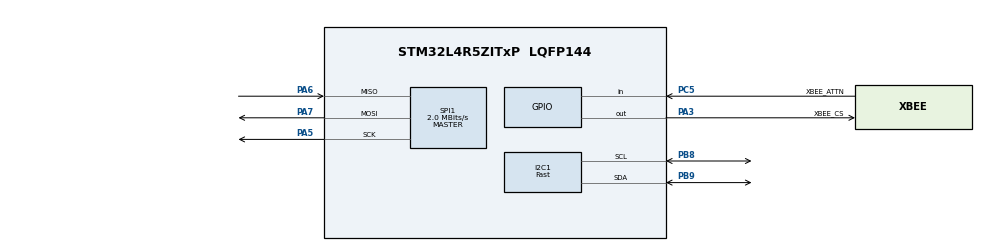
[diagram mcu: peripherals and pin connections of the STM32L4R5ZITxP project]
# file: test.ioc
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I2C1.Analog_Filter=I2C_ANALOGFILTER_ENABLE
I2C1.CustomTiming=Enabled
I2C1.I2C_Speed_Mode=I2C_Fast
I2C1.NoStretchMode=I2C_NOSTRETCH_DISABLE
I2C1.OwnAddress=0x78
I2C1.Timing=0x00000004
Mcu.Family=STM32L4
Mcu.Name=STM32L4R5ZITxP
Mcu.Package=LQFP144
NVIC.PriorityGroup=NVIC_PRIORITYGROUP_4
PA0.Signal=S_TIM2_CH1
PA1.Signal=ADCx_IN6
PA10.Signal=USB_OTG_FS_ID
PA13\ (JTMS/SWDIO).Signal=SYS_JTMS-SWDIO
PA14\ (JTCK/SWCLK).Signal=SYS_JTCK-SWCLK
PA3.GPIO_Label=XBEE_CS
PA3.GPIO_PuPd=GPIO_PULLUP
PA3.PinState=GPIO_PIN_SET
PA3.Signal=GPIO_Output
PA4.Signal=SPI1_NSS
PA5.GPIO_PuPd=GPIO_PULLDOWN
PA5.Mode=Full_Duplex_Master
PA5.Signal=SPI1_SCK
PA6.GPIO_PuPd=GPIO_NOPULL
PA6.Mode=Full_Duplex_Master
PA6.Signal=SPI1_MISO
PA7.GPIO_PuPd=GPIO_NOPULL
PA7.Mode=Full_Duplex_Master
PA7.Signal=SPI1_MOSI
PA8.Signal=USB_OTG_FS_SOF
PA9.Signal=USB_OTG_FS_VBUS
PB0.Signal=S_TIM3_CH3
PB1.Signal=ADCx_IN16
PB10.Signal=S_TIM2_CH3
PB12.Signal=SAI2_FS_A
PB13.Signal=SAI2_SCK_A
PB14.Signal=S_TIM15_CH1
PB15.Signal=SAI2_SD_A
PB2.Signal=COMP1_INP
PB3\ (JTDO/TRACESWO).Signal=SPI3_SCK
PB4\ (NJTRST).Signal=SPI3_MISO
PB5.Signal=SPI3_MOSI
PB6.Signal=COMP2_INP
PB8.GPIO_FM8=I2C_FASTMODEPLUS_PB8
PB8.GPIO_Mode=GPIO_MODE_AF_OD
PB8.GPIO_Pu=GPIO_PULLUP
PB8.GPIO_Speed=GPIO_SPEED_FREQ_VERY_HIGH
PB8.Mode=I2C
PB8.Signal=I2C1_SCL
PB9.GPIO_FM9=I2C_FASTMODEPLUS_PB9
PB9.GPIO_Mode=GPIO_MODE_AF_OD
PB9.GPIO_Pu=GPIO_PULLUP
PB9.GPIO_Speed=GPIO_SPEED_FREQ_VERY_HIGH
PB9.Mode=I2C
PB9.Signal=I2C1_SDA
PC0.Signal=ADCx_IN1
PC1.Signal=ADCx_IN2
PC10.Signal=SDMMC1_D2
PC11.Signal=SDMMC1_D3
PC12.Signal=SDMMC1_CK
PC13.Signal=SYS_WKUP2
PC14-OSC32_IN\ (PC14).Signal=RCC_OSC32_IN
PC15-OSC32_OUT\ (PC15).Signal=RCC_OSC32_OUT
PC2.Signal=ADCx_IN3
PC3.Signal=ADCx_IN4
PC4.Signal=ADCx_IN13
PC5.GPIO_Label=XBEE_ATTN
PC5.Signal=GPIO_Input
PC6.Signal=SAI2_MCLK_A
PC7.Signal=S_TIM3_CH2
PC8.Signal=SDMMC1_D0
PC9.Signal=SDMMC1_D1
PD0.Signal=CAN1_RX
PD14.Signal=S_TIM4_CH3
PD15.Signal=S_TIM4_CH4
PD2.Signal=SDMMC1_CMD
PD3.Signal=USART2_CTS
PD4.Signal=USART2_RTS
PD5.Signal=USART2_TX
PD6.Signal=USART2_RX
PD8.Signal=USART3_TX
PD9.Signal=USART3_RX
PE0.Signal=S_TIM4_ETR
PE10.Signal=TIM1_CH2N
PE11.Signal=S_TIM1_CH2
PE12.Signal=TIM1_CH3N
PE13.Signal=S_TIM1_CH3
PE14.Signal=TIM1_BKIN2
PE15.Signal=TIM1_BKIN
PE2.Signal=SAI1_MCLK_A
PE3.Signal=SAI1_SD_B
PE7.Signal=S_TIM1_ETR
PE8.Signal=TIM1_CH1N
PE9.Signal=S_TIM1_CH1
PF0.Signal=I2C2_SDA
PF1.Signal=I2C2_SCL
PF2.Signal=I2C2_SMBA
PF7.Signal=SAI1_MCLK_B
PG7.Signal=LPUART1_TX
PG8.Signal=LPUART1_RX
PH0-OSC_IN\ (PH0).Signal=RCC_OSC_IN
PH1-OSC_OUT\ (PH1).Signal=RCC_OSC_OUT
ProjectManager.HeapSize=0x200
ProjectManager.StackSize=0x400
ProjectManager.TargetToolchain=STM32CubeIDE
RCC.HSE_VALUE=8000000
RCC.HSI48_VALUE=48000000
RCC.HSI_VALUE=16000000
RCC.LSE_VALUE=32768
RCC.MSI_VALUE=4000000
RCC.VCOOutputFreq_Value=32000000
SH.ADCx_IN1.0=ADC1_IN1
SH.ADCx_IN13.0=ADC1_IN13
SH.ADCx_IN16.0=ADC1_IN16
SH.ADCx_IN2.0=ADC1_IN2
SH.ADCx_IN3.0=ADC1_IN3
SH.ADCx_IN4.0=ADC1_IN4
SH.ADCx_IN6.0=ADC1_IN6
SH.S_TIM15_CH1.0=TIM15_CH1
SH.S_TIM1_CH1.0=TIM1_CH1
SH.S_TIM1_CH2.0=TIM1_CH2
SH.S_TIM1_CH3.0=TIM1_CH3
SH.S_TIM1_ETR.0=TIM1_ETR
SH.S_TIM2_CH1.0=TIM2_CH1
SH.S_TIM2_CH3.0=TIM2_CH3
SH.S_TIM3_CH2.0=TIM3_CH2
SH.S_TIM3_CH3.0=TIM3_CH3
SH.S_TIM4_CH3.0=TIM4_CH3
SH.S_TIM4_CH4.0=TIM4_CH4
SH.S_TIM4_ETR.0=TIM4_ETR
SPI1.CLKPhase=SPI_PHASE_1EDGE
SPI1.CLKPolarity=SPI_POLARITY_LOW
SPI1.CalculateBaudRate=2.0 MBits/s
SPI1.DataSize=SPI_DATASIZE_8BIT
SPI1.Direction=SPI_DIRECTION_2LINES
SPI1.Mode=SPI_MODE_MASTER
SPI1.VirtualType=VM_MASTER
VP_FATFS_VS_Generic.Mode=User_defined
board=NUCLEO-L4R5ZI-P

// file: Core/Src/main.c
/* USER CODE BEGIN Header */
/**
  ******************************************************************************
  * @file           : main.c
  * @brief          : Main program body
  ******************************************************************************
  * @attention
  *
  * Copyright (c) 2023 STMicroelectronics.
  * All rights reserved.
  *
  * This software is licensed under terms that can be found in the LICENSE file
  * in the root directory of this software component.
  * If no LICENSE file comes with this software, it is provided AS-IS.
  *
  ******************************************************************************
  */
/* USER CODE END Header */
#include "main.h"
#include "fatfs.h"

/* USER CODE BEGIN Includes */
#include "ssd1306.h"
#include "fonts.h"

/* USER CODE END Includes */

/* USER CODE BEGIN PD */
#define GLASSBEE_ADDR 0x0013A2004176EAC6
#define FOOTBEE_ADDR 0x0013A2004108245C
#define XBEE_SRC_ADDR GLASSBEE_ADDR
#define XBEE_DEST_ADDR FOOTBEE_ADDR
#define XBEE_START 0x7E
#define XBEE_TRANSMIT_FRAME 0x10
#define XBEE_RECEIVE_FRAME 0x90

/* USER CODE END PD */

I2C_HandleTypeDef hi2c1;

SPI_HandleTypeDef hspi1;

void SystemClock_Config(void);
static void MX_GPIO_Init(void);
static void MX_I2C1_Init(void);
static void MX_SPI1_Init(void);

/* USER CODE BEGIN 0 */

// returns frame size
// modifies frame[]. pass payload to be sent in data[].
uint8_t XBeeChecksum(uint8_t frame[], uint8_t frame_size)
{
	uint8_t checksum = 0;
	uint8_t ret = 0;
	for (int i = 0; i < frame_size; i++) // skip bytes 0-2, and last
	{
		uint8_t temp = frame[i+3];
		checksum += temp;
	}
	checksum = 0x00FF - checksum;
	ret = (uint8_t)(checksum & 0x00FF);
	return ret;
}

uint8_t makeXBeeFrame
(
		uint8_t frame_type,
		uint8_t frame_id,
		uint8_t data_size, // in bytes
		uint8_t data[],
		uint8_t frame[]
)
{
	// only do 14 bytes of data to avoid exceeding 32-byte frame size
	if (data_size > 14) { data_size = 14; }

	uint16_t frame_size = 0x0E + data_size;
	uint32_t checksum = 0;

	frame[0] = XBEE_START;
	frame[1] = ((frame_size) >> 8) & 0x00FF; // length upper byte
	frame[2] = ((frame_size) >> 0) & 0x00FF; // length lower byte
	frame[3] = frame_type;
	frame[4] = frame_id;
	for (int i = 0; i < 8; i++) // write 64-bit dest
	{
		uint8_t temp = (XBEE_DEST_ADDR >> 8*(7-i));
		frame[i + 5] = temp;
	}
	frame[13] = 0xFF; // 16-bit addr upper
	frame[14] = 0xFE; // 16-bit addr lower
	frame[15] = 0x00; // broadcast_radius
	frame[16] = 0x00; // options
	for (int i = 0; i < data_size; i++) // add data payload to frame
	{
		uint8_t temp = data[i];
		frame[i + 17] = temp;
	}

	// update checksum
	checksum = XBeeChecksum(frame, frame_size);
	frame[data_size + 17] = checksum;
	return frame_size + 4;
}

void parseXBeeFrame (uint8_t* frame[])
{
}

/* USER CODE END 0 */

int main(void)
{

  /* MCU Configuration--------------------------------------------------------*/

  /* Reset of all peripherals, Initializes the Flash interface and the Systick. */
  HAL_Init();

  /* Configure the system clock */
  SystemClock_Config();

  /* Initialize all configured peripherals */
  MX_GPIO_Init();
  MX_I2C1_Init();
  MX_SPI1_Init();
  MX_FATFS_Init();
  /* USER CODE BEGIN 2 */

  uint8_t data_buf[14];
  uint8_t xbee_tx_buf[32];
  uint8_t xbee_rx_buf[32];

  data_buf[0] = 1;
  data_buf[1] = 3;
  data_buf[2] = 9;
  data_buf[3] = 12;
  uint8_t tx_size = makeXBeeFrame(XBEE_TRANSMIT_FRAME, 0x01, 4, data_buf, xbee_tx_buf);
  HAL_GPIO_TogglePin(GPIOA, GPIO_PIN_3);
  HAL_SPI_TransmitReceive(&hspi3, xbee_tx_buf, xbee_rx_buf, tx_size, 10);
  HAL_GPIO_TogglePin(GPIOA, GPIO_PIN_3);

  /* USER CODE END 2 */

  /* Infinite loop */
  while (1)
  {

    /* USER CODE BEGIN 3 */
	  SSD1306_Init();
	  SSD1306_GotoXY (0,21);
	  SSD1306_Puts ("HELLO WORLD :)", &Font_7x10, 1);
	  SSD1306_UpdateScreen(); //display

	  HAL_Delay (2000);
  }
  /* USER CODE END 3 */
}

void SystemClock_Config(void)
{
  RCC_OscInitTypeDef RCC_OscInitStruct = {0};
  RCC_ClkInitTypeDef RCC_ClkInitStruct = {0};

  /** Configure the main internal regulator output voltage
  */
  if (HAL_PWREx_ControlVoltageScaling(PWR_REGULATOR_VOLTAGE_SCALE1) != HAL_OK)
  {
    Error_Handler();
  }

  /** Initializes the RCC Oscillators according to the specified parameters
  * in the RCC_OscInitTypeDef structure.
  */
  RCC_OscInitStruct.OscillatorType = RCC_OSCILLATORTYPE_MSI;
  RCC_OscInitStruct.MSIState = RCC_MSI_ON;
  RCC_OscInitStruct.MSICalibrationValue = 0;
  RCC_OscInitStruct.MSIClockRange = RCC_MSIRANGE_6;
  RCC_OscInitStruct.PLL.PLLState = RCC_PLL_NONE;
  if (HAL_RCC_OscConfig(&RCC_OscInitStruct) != HAL_OK)
  {
    Error_Handler();
  }

  /** Initializes the CPU, AHB and APB buses clocks
  */
  RCC_ClkInitStruct.ClockType = RCC_CLOCKTYPE_HCLK|RCC_CLOCKTYPE_SYSCLK
                              |RCC_CLOCKTYPE_PCLK1|RCC_CLOCKTYPE_PCLK2;
  RCC_ClkInitStruct.SYSCLKSource = RCC_SYSCLKSOURCE_MSI;
  RCC_ClkInitStruct.AHBCLKDivider = RCC_SYSCLK_DIV1;
  RCC_ClkInitStruct.APB1CLKDivider = RCC_HCLK_DIV1;
  RCC_ClkInitStruct.APB2CLKDivider = RCC_HCLK_DIV1;

  if (HAL_RCC_ClockConfig(&RCC_ClkInitStruct, FLASH_LATENCY_0) != HAL_OK)
  {
    Error_Handler();
  }
}

static void MX_I2C1_Init(void)
{

  hi2c1.Instance = I2C1;
  hi2c1.Init.Timing = 0x00000004;
  hi2c1.Init.OwnAddress1 = 240;
  hi2c1.Init.AddressingMode = I2C_ADDRESSINGMODE_7BIT;
  hi2c1.Init.DualAddressMode = I2C_DUALADDRESS_DISABLE;
  hi2c1.Init.OwnAddress2 = 0;
  hi2c1.Init.OwnAddress2Masks = I2C_OA2_NOMASK;
  hi2c1.Init.GeneralCallMode = I2C_GENERALCALL_DISABLE;
  hi2c1.Init.NoStretchMode = I2C_NOSTRETCH_DISABLE;
  if (HAL_I2C_Init(&hi2c1) != HAL_OK)
  {
    Error_Handler();
  }

  /** Configure Analogue filter
  */
  if (HAL_I2CEx_ConfigAnalogFilter(&hi2c1, I2C_ANALOGFILTER_ENABLE) != HAL_OK)
  {
    Error_Handler();
  }

  /** Configure Digital filter
  */
  if (HAL_I2CEx_ConfigDigitalFilter(&hi2c1, 0) != HAL_OK)
  {
    Error_Handler();
  }

}

static void MX_SPI1_Init(void)
{

  /* SPI1 parameter configuration*/
  hspi1.Instance = SPI1;
  hspi1.Init.Mode = SPI_MODE_MASTER;
  hspi1.Init.Direction = SPI_DIRECTION_2LINES;
  hspi1.Init.DataSize = SPI_DATASIZE_8BIT;
  hspi1.Init.CLKPolarity = SPI_POLARITY_LOW;
  hspi1.Init.CLKPhase = SPI_PHASE_1EDGE;
  hspi1.Init.NSS = SPI_NSS_SOFT;
  hspi1.Init.BaudRatePrescaler = SPI_BAUDRATEPRESCALER_2;
  hspi1.Init.FirstBit = SPI_FIRSTBIT_MSB;
  hspi1.Init.TIMode = SPI_TIMODE_DISABLE;
  hspi1.Init.CRCCalculation = SPI_CRCCALCULATION_DISABLE;
  hspi1.Init.CRCPolynomial = 7;
  hspi1.Init.CRCLength = SPI_CRC_LENGTH_DATASIZE;
  hspi1.Init.NSSPMode = SPI_NSS_PULSE_ENABLE;
  if (HAL_SPI_Init(&hspi1) != HAL_OK)
  {
    Error_Handler();
  }

}

static void MX_GPIO_Init(void)
{
  GPIO_InitTypeDef GPIO_InitStruct = {0};

  /* GPIO Ports Clock Enable */
  __HAL_RCC_GPIOE_CLK_ENABLE();
  __HAL_RCC_GPIOC_CLK_ENABLE();
  __HAL_RCC_GPIOF_CLK_ENABLE();
  __HAL_RCC_GPIOH_CLK_ENABLE();
  __HAL_RCC_GPIOA_CLK_ENABLE();
  __HAL_RCC_GPIOB_CLK_ENABLE();
  __HAL_RCC_GPIOD_CLK_ENABLE();
  __HAL_RCC_GPIOG_CLK_ENABLE();
  HAL_PWREx_EnableVddIO2();

  /*Configure GPIO pin Output Level */
  HAL_GPIO_WritePin(XBEE_CS_GPIO_Port, XBEE_CS_Pin, GPIO_PIN_SET);

  /*Configure GPIO pins : PE2 PE3 */
  GPIO_InitStruct.Pin = GPIO_PIN_2|GPIO_PIN_3;
  GPIO_InitStruct.Mode = GPIO_MODE_AF_PP;
  GPIO_InitStruct.Pull = GPIO_NOPULL;
  GPIO_InitStruct.Speed = GPIO_SPEED_FREQ_LOW;
  GPIO_InitStruct.Alternate = GPIO_AF13_SAI1;
  HAL_GPIO_Init(GPIOE, &GPIO_InitStruct);

  /*Configure GPIO pins : PF0 PF1 PF2 */
  GPIO_InitStruct.Pin = GPIO_PIN_0|GPIO_PIN_1|GPIO_PIN_2;
  GPIO_InitStruct.Mode = GPIO_MODE_AF_OD;
  GPIO_InitStruct.Pull = GPIO_NOPULL;
  GPIO_InitStruct.Speed = GPIO_SPEED_FREQ_VERY_HIGH;
  GPIO_InitStruct.Alternate = GPIO_AF4_I2C2;
  HAL_GPIO_Init(GPIOF, &GPIO_InitStruct);

  /*Configure GPIO pin : PF7 */
  GPIO_InitStruct.Pin = GPIO_PIN_7;
  GPIO_InitStruct.Mode = GPIO_MODE_AF_PP;
  GPIO_InitStruct.Pull = GPIO_NOPULL;
  GPIO_InitStruct.Speed = GPIO_SPEED_FREQ_LOW;
  GPIO_InitStruct.Alternate = GPIO_AF13_SAI1;
  HAL_GPIO_Init(GPIOF, &GPIO_InitStruct);

  /*Configure GPIO pins : PC0 PC1 PC2 PC3
                           PC4 */
  GPIO_InitStruct.Pin = GPIO_PIN_0|GPIO_PIN_1|GPIO_PIN_2|GPIO_PIN_3
                          |GPIO_PIN_4;
  GPIO_InitStruct.Mode = GPIO_MODE_ANALOG_ADC_CONTROL;
  GPIO_InitStruct.Pull = GPIO_NOPULL;
  HAL_GPIO_Init(GPIOC, &GPIO_InitStruct);

  /*Configure GPIO pin : PA0 */
  GPIO_InitStruct.Pin = GPIO_PIN_0;
  GPIO_InitStruct.Mode = GPIO_MODE_AF_PP;
  GPIO_InitStruct.Pull = GPIO_NOPULL;
  GPIO_InitStruct.Speed = GPIO_SPEED_FREQ_LOW;
  GPIO_InitStruct.Alternate = GPIO_AF1_TIM2;
  HAL_GPIO_Init(GPIOA, &GPIO_InitStruct);

  /*Configure GPIO pin : PA1 */
  GPIO_InitStruct.Pin = GPIO_PIN_1;
  GPIO_InitStruct.Mode = GPIO_MODE_ANALOG_ADC_CONTROL;
  GPIO_InitStruct.Pull = GPIO_NOPULL;
  HAL_GPIO_Init(GPIOA, &GPIO_InitStruct);

  /*Configure GPIO pin : XBEE_CS_Pin */
  GPIO_InitStruct.Pin = XBEE_CS_Pin;
  GPIO_InitStruct.Mode = GPIO_MODE_OUTPUT_PP;
  GPIO_InitStruct.Pull = GPIO_PULLUP;
  GPIO_InitStruct.Speed = GPIO_SPEED_FREQ_LOW;
  HAL_GPIO_Init(XBEE_CS_GPIO_Port, &GPIO_InitStruct);

  /*Configure GPIO pin : XBEE_ATTN_Pin */
  GPIO_InitStruct.Pin = XBEE_ATTN_Pin;
  GPIO_InitStruct.Mode = GPIO_MODE_INPUT;
  GPIO_InitStruct.Pull = GPIO_NOPULL;
  HAL_GPIO_Init(XBEE_ATTN_GPIO_Port, &GPIO_InitStruct);

  /*Configure GPIO pin : PB0 */
  GPIO_InitStruct.Pin = GPIO_PIN_0;
  GPIO_InitStruct.Mode = GPIO_MODE_AF_PP;
  GPIO_InitStruct.Pull = GPIO_NOPULL;
  GPIO_InitStruct.Speed = GPIO_SPEED_FREQ_LOW;
  GPIO_InitStruct.Alternate = GPIO_AF2_TIM3;
  HAL_GPIO_Init(GPIOB, &GPIO_InitStruct);

  /*Configure GPIO pin : PB1 */
  GPIO_InitStruct.Pin = GPIO_PIN_1;
  GPIO_InitStruct.Mode = GPIO_MODE_ANALOG_ADC_CONTROL;
  GPIO_InitStruct.Pull = GPIO_NOPULL;
  HAL_GPIO_Init(GPIOB, &GPIO_InitStruct);

  /*Configure GPIO pins : PB2 PB6 */
  GPIO_InitStruct.Pin = GPIO_PIN_2|GPIO_PIN_6;
  GPIO_InitStruct.Mode = GPIO_MODE_ANALOG;
  GPIO_InitStruct.Pull = GPIO_NOPULL;
  HAL_GPIO_Init(GPIOB, &GPIO_InitStruct);

  /*Configure GPIO pins : PE7 PE8 PE9 PE10
                           PE11 PE12 PE13 */
  GPIO_InitStruct.Pin = GPIO_PIN_7|GPIO_PIN_8|GPIO_PIN_9|GPIO_PIN_10
                          |GPIO_PIN_11|GPIO_PIN_12|GPIO_PIN_13;
  GPIO_InitStruct.Mode = GPIO_MODE_AF_PP;
  GPIO_InitStruct.Pull = GPIO_NOPULL;
  GPIO_InitStruct.Speed = GPIO_SPEED_FREQ_LOW;
  GPIO_InitStruct.Alternate = GPIO_AF1_TIM1;
  HAL_GPIO_Init(GPIOE, &GPIO_InitStruct);

  /*Configure GPIO pins : PE14 PE15 */
  GPIO_InitStruct.Pin = GPIO_PIN_14|GPIO_PIN_15;
  GPIO_InitStruct.Mode = GPIO_MODE_AF_PP;
  GPIO_InitStruct.Pull = GPIO_NOPULL;
  GPIO_InitStruct.Speed = GPIO_SPEED_FREQ_LOW;
  GPIO_InitStruct.Alternate = GPIO_AF3_TIM1_COMP1;
  HAL_GPIO_Init(GPIOE, &GPIO_InitStruct);

  /*Configure GPIO pin : PB10 */
  GPIO_InitStruct.Pin = GPIO_PIN_10;
  GPIO_InitStruct.Mode = GPIO_MODE_AF_PP;
  GPIO_InitStruct.Pull = GPIO_NOPULL;
  GPIO_InitStruct.Speed = GPIO_SPEED_FREQ_LOW;
  GPIO_InitStruct.Alternate = GPIO_AF1_TIM2;
  HAL_GPIO_Init(GPIOB, &GPIO_InitStruct);

  /*Configure GPIO pins : PB12 PB13 PB15 */
  GPIO_InitStruct.Pin = GPIO_PIN_12|GPIO_PIN_13|GPIO_PIN_15;
  GPIO_InitStruct.Mode = GPIO_MODE_AF_PP;
  GPIO_InitStruct.Pull = GPIO_NOPULL;
  GPIO_InitStruct.Speed = GPIO_SPEED_FREQ_LOW;
  GPIO_InitStruct.Alternate = GPIO_AF13_SAI2;
  HAL_GPIO_Init(GPIOB, &GPIO_InitStruct);

  /*Configure GPIO pin : PB14 */
  GPIO_InitStruct.Pin = GPIO_PIN_14;
  GPIO_InitStruct.Mode = GPIO_MODE_AF_PP;
  GPIO_InitStruct.Pull = GPIO_NOPULL;
  GPIO_InitStruct.Speed = GPIO_SPEED_FREQ_LOW;
  GPIO_InitStruct.Alternate = GPIO_AF14_TIM15;
  HAL_GPIO_Init(GPIOB, &GPIO_InitStruct);

  /*Configure GPIO pins : PD8 PD9 */
  GPIO_InitStruct.Pin = GPIO_PIN_8|GPIO_PIN_9;
  GPIO_InitStruct.Mode = GPIO_MODE_AF_PP;
  GPIO_InitStruct.Pull = GPIO_NOPULL;
  GPIO_InitStruct.Speed = GPIO_SPEED_FREQ_VERY_HIGH;
  GPIO_InitStruct.Alternate = GPIO_AF7_USART3;
  HAL_GPIO_Init(GPIOD, &GPIO_InitStruct);

  /*Configure GPIO pins : PD14 PD15 */
  GPIO_InitStruct.Pin = GPIO_PIN_14|GPIO_PIN_15;
  GPIO_InitStruct.Mode = GPIO_MODE_AF_PP;
  GPIO_InitStruct.Pull = GPIO_NOPULL;
  GPIO_InitStruct.Speed = GPIO_SPEED_FREQ_LOW;
  GPIO_InitStruct.Alternate = GPIO_AF2_TIM4;
  HAL_GPIO_Init(GPIOD, &GPIO_InitStruct);

  /*Configure GPIO pins : PG7 PG8 */
  GPIO_InitStruct.Pin = GPIO_PIN_7|GPIO_PIN_8;
  GPIO_InitStruct.Mode = GPIO_MODE_AF_PP;
  GPIO_InitStruct.Pull = GPIO_NOPULL;
  GPIO_InitStruct.Speed = GPIO_SPEED_FREQ_VERY_HIGH;
  GPIO_InitStruct.Alternate = GPIO_AF8_LPUART1;
  HAL_GPIO_Init(GPIOG, &GPIO_InitStruct);

  /*Configure GPIO pin : PC6 */
  GPIO_InitStruct.Pin = GPIO_PIN_6;
  GPIO_InitStruct.Mode = GPIO_MODE_AF_PP;
  GPIO_InitStruct.Pull = GPIO_NOPULL;
  GPIO_InitStruct.Speed = GPIO_SPEED_FREQ_LOW;
  GPIO_InitStruct.Alternate = GPIO_AF13_SAI2;
  HAL_GPIO_Init(GPIOC, &GPIO_InitStruct);

  /*Configure GPIO pin : PC7 */
  GPIO_InitStruct.Pin = GPIO_PIN_7;
  GPIO_InitStruct.Mode = GPIO_MODE_AF_PP;
  GPIO_InitStruct.Pull = GPIO_NOPULL;
  GPIO_InitStruct.Speed = GPIO_SPEED_FREQ_LOW;
  GPIO_InitStruct.Alternate = GPIO_AF2_TIM3;
  HAL_GPIO_Init(GPIOC, &GPIO_InitStruct);

  /*Configure GPIO pins : PC8 PC9 PC10 PC11
                           PC12 */
  GPIO_InitStruct.Pin = GPIO_PIN_8|GPIO_PIN_9|GPIO_PIN_10|GPIO_PIN_11
                          |GPIO_PIN_12;
  GPIO_InitStruct.Mode = GPIO_MODE_AF_PP;
  GPIO_InitStruct.Pull = GPIO_NOPULL;
  GPIO_InitStruct.Speed = GPIO_SPEED_FREQ_VERY_HIGH;
  GPIO_InitStruct.Alternate = GPIO_AF12_SDMMC1;
  HAL_GPIO_Init(GPIOC, &GPIO_InitStruct);

  /*Configure GPIO pins : PA8 PA10 */
  GPIO_InitStruct.Pin = GPIO_PIN_8|GPIO_PIN_10;
  GPIO_InitStruct.Mode = GPIO_MODE_AF_PP;
  GPIO_InitStruct.Pull = GPIO_NOPULL;
  GPIO_InitStruct.Speed = GPIO_SPEED_FREQ_VERY_HIGH;
  GPIO_InitStruct.Alternate = GPIO_AF10_OTG_FS;
  HAL_GPIO_Init(GPIOA, &GPIO_InitStruct);

  /*Configure GPIO pin : PA9 */
  GPIO_InitStruct.Pin = GPIO_PIN_9;
  GPIO_InitStruct.Mode = GPIO_MODE_INPUT;
  GPIO_InitStruct.Pull = GPIO_NOPULL;
  HAL_GPIO_Init(GPIOA, &GPIO_InitStruct);

  /*Configure GPIO pin : PD0 */
  GPIO_InitStruct.Pin = GPIO_PIN_0;
  GPIO_InitStruct.Mode = GPIO_MODE_AF_PP;
  GPIO_InitStruct.Pull = GPIO_NOPULL;
  GPIO_InitStruct.Speed = GPIO_SPEED_FREQ_VERY_HIGH;
  GPIO_InitStruct.Alternate = GPIO_AF9_CAN1;
  HAL_GPIO_Init(GPIOD, &GPIO_InitStruct);

  /*Configure GPIO pin : PD2 */
  GPIO_InitStruct.Pin = GPIO_PIN_2;
  GPIO_InitStruct.Mode = GPIO_MODE_AF_PP;
  GPIO_InitStruct.Pull = GPIO_NOPULL;
  GPIO_InitStruct.Speed = GPIO_SPEED_FREQ_VERY_HIGH;
  GPIO_InitStruct.Alternate = GPIO_AF12_SDMMC1;
  HAL_GPIO_Init(GPIOD, &GPIO_InitStruct);

  /*Configure GPIO pins : PD3 PD4 PD5 PD6 */
  GPIO_InitStruct.Pin = GPIO_PIN_3|GPIO_PIN_4|GPIO_PIN_5|GPIO_PIN_6;
  GPIO_InitStruct.Mode = GPIO_MODE_AF_PP;
  GPIO_InitStruct.Pull = GPIO_NOPULL;
  GPIO_InitStruct.Speed = GPIO_SPEED_FREQ_VERY_HIGH;
  GPIO_InitStruct.Alternate = GPIO_AF7_USART2;
  HAL_GPIO_Init(GPIOD, &GPIO_InitStruct);

  /*Configure GPIO pins : PB3 PB4 PB5 */
  GPIO_InitStruct.Pin = GPIO_PIN_3|GPIO_PIN_4|GPIO_PIN_5;
  GPIO_InitStruct.Mode = GPIO_MODE_AF_PP;
  GPIO_InitStruct.Pull = GPIO_NOPULL;
  GPIO_InitStruct.Speed = GPIO_SPEED_FREQ_VERY_HIGH;
  GPIO_InitStruct.Alternate = GPIO_AF6_SPI3;
  HAL_GPIO_Init(GPIOB, &GPIO_InitStruct);

  /*Configure GPIO pin : PE0 */
  GPIO_InitStruct.Pin = GPIO_PIN_0;
  GPIO_InitStruct.Mode = GPIO_MODE_AF_PP;
  GPIO_InitStruct.Pull = GPIO_NOPULL;
  GPIO_InitStruct.Speed = GPIO_SPEED_FREQ_LOW;
  GPIO_InitStruct.Alternate = GPIO_AF2_TIM4;
  HAL_GPIO_Init(GPIOE, &GPIO_InitStruct);

}

void Error_Handler(void)
{
  __disable_irq();
  while (1)
  {
  }
}
